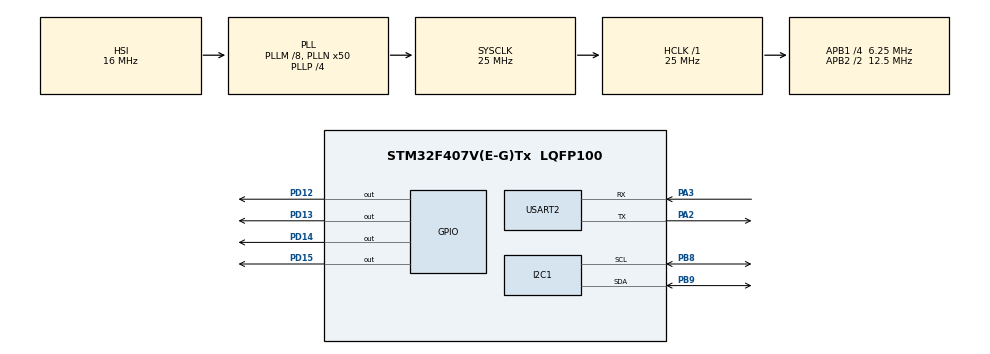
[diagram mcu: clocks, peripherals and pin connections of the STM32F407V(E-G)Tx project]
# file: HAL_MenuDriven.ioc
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Mcu.Family=STM32F4
Mcu.Name=STM32F407V(E-G)Tx
Mcu.Package=LQFP100
NVIC.PriorityGroup=NVIC_PRIORITYGROUP_0
PA2.Mode=Asynchronous
PA2.Signal=USART2_TX
PA3.Mode=Asynchronous
PA3.Signal=USART2_RX
PB8.Mode=I2C
PB8.Signal=I2C1_SCL
PB9.Mode=I2C
PB9.Signal=I2C1_SDA
PD12.Signal=GPIO_Output
PD13.Signal=GPIO_Output
PD14.Signal=GPIO_Output
PD15.Signal=GPIO_Output
ProjectManager.HeapSize=0x200
ProjectManager.StackSize=0x400
ProjectManager.TargetToolchain=STM32CubeIDE
RCC.48MHZClocksFreq_Value=14285714.285714285
RCC.AHBFreq_Value=25000000
RCC.APB1CLKDivider=RCC_HCLK_DIV4
RCC.APB1Freq_Value=6250000
RCC.APB1TimFreq_Value=12500000
RCC.APB2CLKDivider=RCC_HCLK_DIV2
RCC.APB2Freq_Value=12500000
RCC.APB2TimFreq_Value=25000000
RCC.CortexFreq_Value=25000000
RCC.HCLKFreq_Value=25000000
RCC.HSE_VALUE=8000000
RCC.HSI_VALUE=16000000
RCC.LSE_VALUE=32768
RCC.PLLM=8
RCC.PLLN=50
RCC.PLLP=RCC_PLLP_DIV4
RCC.PLLQ=7
RCC.SYSCLKFreq_VALUE=25000000
RCC.SYSCLKSource=RCC_SYSCLKSOURCE_PLLCLK
RCC.VCOOutputFreq_Value=100000000
USART2.VirtualMode=VM_ASYNC
board=STM32F407G-DISC1

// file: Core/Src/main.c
/* USER CODE BEGIN Header */
/**
  ******************************************************************************
  * @file           : main.c
  * @brief          : Main program body
  ******************************************************************************
  * @attention
  *
  * Copyright (c) 2023 STMicroelectronics.
  * All rights reserved.
  *
  * This software is licensed under terms that can be found in the LICENSE file
  * in the root directory of this software component.
  * If no LICENSE file comes with this software, it is provided AS-IS.
  *
  ******************************************************************************
  */
/* USER CODE END Header */
#include "main.h"

/* USER CODE BEGIN Includes */
#include<stdio.h>
/* USER CODE END Includes */

I2C_HandleTypeDef hi2c1;

UART_HandleTypeDef huart2;

void SystemClock_Config(void);
static void MX_GPIO_Init(void);
static void MX_I2C1_Init(void);
static void MX_USART2_UART_Init(void);

/* USER CODE BEGIN 0 */
void uart_recieve(char str[])
{
	char ch;
	int i = 0;
	do
	{
		HAL_UART_Receive(&huart2, (uint8_t *)&ch, 1, HAL_MAX_DELAY);

		str[i++] = ch;
	}while(ch != '\r');
	str[i++] = '\n';
	str[i] = '\0';
}
/* USER CODE END 0 */

int main(void)
{
  /* USER CODE BEGIN 1 */
	uint8_t choice;
	char str[20];
  /* USER CODE END 1 */

  /* MCU Configuration--------------------------------------------------------*/

  /* Reset of all peripherals, Initializes the Flash interface and the Systick. */
  HAL_Init();

  /* Configure the system clock */
  SystemClock_Config();

  /* Initialize all configured peripherals */
  MX_GPIO_Init();
  MX_I2C1_Init();
  MX_USART2_UART_Init();

  /* Infinite loop */
  while (1)
  {

    /* USER CODE BEGIN 3 */
	  HAL_UART_Transmit(&huart2, (uint8_t *)"Which LED you want to toggle?\r\n", sizeof("Which LED you want to toggle?\r\n"), HAL_MAX_DELAY);
	  HAL_UART_Transmit(&huart2, (uint8_t *)"1. Green\r\n", sizeof("1. Green\r\n"), HAL_MAX_DELAY);
	  HAL_UART_Transmit(&huart2, (uint8_t *)"2. Orange\r\n", sizeof("2. Orange\r\n"), HAL_MAX_DELAY);
	  HAL_UART_Transmit(&huart2, (uint8_t *)"3. Red\r\n", sizeof("3. Red\r\n"), HAL_MAX_DELAY);
	  HAL_UART_Transmit(&huart2, (uint8_t *)"4. Blue\r\n", sizeof("4. Blue\r\n"), HAL_MAX_DELAY);
	  HAL_UART_Transmit(&huart2, (uint8_t *)"Enter your choice : \r\n", sizeof("Enter your choice : \r\n"), HAL_MAX_DELAY);
	  uart_recieve(str);
	  choice = str[0] - '0';
	  switch(choice)
	  {
			case 1:
				HAL_GPIO_TogglePin(GPIOD, GPIO_PIN_12);
				break;

			case 2:
				HAL_GPIO_TogglePin(GPIOD, GPIO_PIN_13);
				break;

			case 3:
				HAL_GPIO_TogglePin(GPIOD, GPIO_PIN_14);
				break;

			case 4:
				HAL_GPIO_TogglePin(GPIOD, GPIO_PIN_15);
				break;
	  }
  }
  /* USER CODE END 3 */
}

void SystemClock_Config(void)
{
  RCC_OscInitTypeDef RCC_OscInitStruct = {0};
  RCC_ClkInitTypeDef RCC_ClkInitStruct = {0};

  /** Configure the main internal regulator output voltage
  */
  __HAL_RCC_PWR_CLK_ENABLE();
  __HAL_PWR_VOLTAGESCALING_CONFIG(PWR_REGULATOR_VOLTAGE_SCALE1);

  /** Initializes the RCC Oscillators according to the specified parameters
  * in the RCC_OscInitTypeDef structure.
  */
  RCC_OscInitStruct.OscillatorType = RCC_OSCILLATORTYPE_HSI;
  RCC_OscInitStruct.HSIState = RCC_HSI_ON;
  RCC_OscInitStruct.HSICalibrationValue = RCC_HSICALIBRATION_DEFAULT;
  RCC_OscInitStruct.PLL.PLLState = RCC_PLL_ON;
  RCC_OscInitStruct.PLL.PLLSource = RCC_PLLSOURCE_HSI;
  RCC_OscInitStruct.PLL.PLLM = 8;
  RCC_OscInitStruct.PLL.PLLN = 50;
  RCC_OscInitStruct.PLL.PLLP = RCC_PLLP_DIV4;
  RCC_OscInitStruct.PLL.PLLQ = 7;
  if (HAL_RCC_OscConfig(&RCC_OscInitStruct) != HAL_OK)
  {
    Error_Handler();
  }

  /** Initializes the CPU, AHB and APB buses clocks
  */
  RCC_ClkInitStruct.ClockType = RCC_CLOCKTYPE_HCLK|RCC_CLOCKTYPE_SYSCLK
                              |RCC_CLOCKTYPE_PCLK1|RCC_CLOCKTYPE_PCLK2;
  RCC_ClkInitStruct.SYSCLKSource = RCC_SYSCLKSOURCE_PLLCLK;
  RCC_ClkInitStruct.AHBCLKDivider = RCC_SYSCLK_DIV1;
  RCC_ClkInitStruct.APB1CLKDivider = RCC_HCLK_DIV4;
  RCC_ClkInitStruct.APB2CLKDivider = RCC_HCLK_DIV2;

  if (HAL_RCC_ClockConfig(&RCC_ClkInitStruct, FLASH_LATENCY_0) != HAL_OK)
  {
    Error_Handler();
  }
}

static void MX_I2C1_Init(void)
{

  hi2c1.Instance = I2C1;
  hi2c1.Init.ClockSpeed = 100000;
  hi2c1.Init.DutyCycle = I2C_DUTYCYCLE_2;
  hi2c1.Init.OwnAddress1 = 0;
  hi2c1.Init.AddressingMode = I2C_ADDRESSINGMODE_7BIT;
  hi2c1.Init.DualAddressMode = I2C_DUALADDRESS_DISABLE;
  hi2c1.Init.OwnAddress2 = 0;
  hi2c1.Init.GeneralCallMode = I2C_GENERALCALL_DISABLE;
  hi2c1.Init.NoStretchMode = I2C_NOSTRETCH_DISABLE;
  if (HAL_I2C_Init(&hi2c1) != HAL_OK)
  {
    Error_Handler();
  }

}

static void MX_USART2_UART_Init(void)
{

  huart2.Instance = USART2;
  huart2.Init.BaudRate = 115200;
  huart2.Init.WordLength = UART_WORDLENGTH_8B;
  huart2.Init.StopBits = UART_STOPBITS_1;
  huart2.Init.Parity = UART_PARITY_NONE;
  huart2.Init.Mode = UART_MODE_TX_RX;
  huart2.Init.HwFlowCtl = UART_HWCONTROL_NONE;
  huart2.Init.OverSampling = UART_OVERSAMPLING_16;
  if (HAL_UART_Init(&huart2) != HAL_OK)
  {
    Error_Handler();
  }

}

static void MX_GPIO_Init(void)
{
  GPIO_InitTypeDef GPIO_InitStruct = {0};

  /* GPIO Ports Clock Enable */
  __HAL_RCC_GPIOA_CLK_ENABLE();
  __HAL_RCC_GPIOD_CLK_ENABLE();
  __HAL_RCC_GPIOB_CLK_ENABLE();

  /*Configure GPIO pin Output Level */
  HAL_GPIO_WritePin(GPIOD, GPIO_PIN_12|GPIO_PIN_13|GPIO_PIN_14|GPIO_PIN_15, GPIO_PIN_RESET);

  /*Configure GPIO pins : PD12 PD13 PD14 PD15 */
  GPIO_InitStruct.Pin = GPIO_PIN_12|GPIO_PIN_13|GPIO_PIN_14|GPIO_PIN_15;
  GPIO_InitStruct.Mode = GPIO_MODE_OUTPUT_PP;
  GPIO_InitStruct.Pull = GPIO_NOPULL;
  GPIO_InitStruct.Speed = GPIO_SPEED_FREQ_LOW;
  HAL_GPIO_Init(GPIOD, &GPIO_InitStruct);

}

void Error_Handler(void)
{
  __disable_irq();
  while (1)
  {
  }
}
